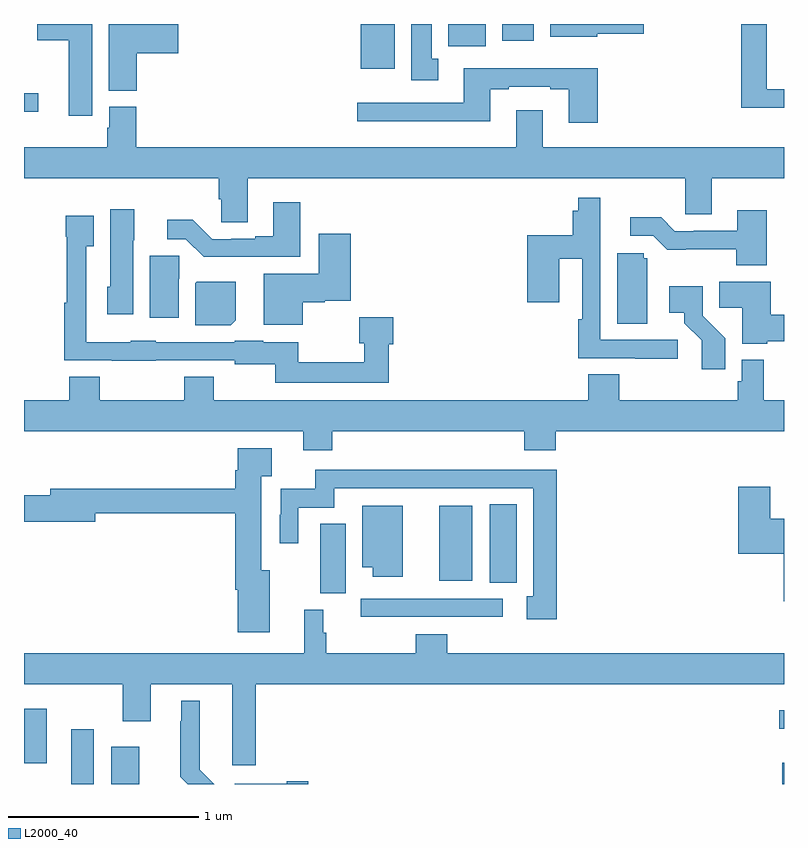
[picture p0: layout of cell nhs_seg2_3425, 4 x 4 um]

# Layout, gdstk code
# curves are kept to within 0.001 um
import gdstk
lib = gdstk.Library(unit=1e-6, precision=1e-09)
def R(c, l, rs):  # rectangles x0, y0, x1, y1
    for r in rs: c.add(gdstk.rectangle(r[:2], r[2:], *l))
def P(c, l, *ps):  # polygons
    for p in ps: c.add(gdstk.Polygon(p, *l))
L2000_40 = (2000, 40)

nhs_seg2_3425 = lib.new_cell('nhs_seg2_3425')
R(nhs_seg2_3425, L2000_40, [(291.248,625.8,291.367,626.089), (291.458,625.8,291.607,625.996), (294.992,625.8,295,625.912), (291,625.91,291.121,626.197), (294.975,626.091,295,626.188), (292.773,626.679,293.521,626.775), (292.559,626.803,292.693,627.169), (293.45,626.86,293.593,627.272), (293.186,626.87,293.359,627.265), (291,629.339,291.076,629.436), (292.772,629.564,292.951,629.8), (293.234,629.684,293.431,629.8), (293.516,629.712,293.683,629.8)])
P(nhs_seg2_3425, L2000_40, [(293.179,629.618),(293.146,629.618),(293.146,629.8),(293.039,629.8),(293.039,629.505),(293.179,629.505)],
  [(291.358,629.8),(291.071,629.8),(291.071,629.714),(291.236,629.714),(291.236,629.316),(291.358,629.316)],
  [(291.593,629.645),(291.811,629.645),(291.811,629.8),(291.446,629.8),(291.446,629.449),(291.593,629.449)],
  [(294.018,629.75),(294.262,629.75),(294.262,629.8),(293.771,629.8),(293.771,629.732),(294.018,629.732)],
  [(295,629.457),(294.91,629.457),(294.91,629.8),(294.776,629.8),(294.776,629.36),(295,629.36)],
  [(294.02,629.566),(293.315,629.566),(293.315,629.385),(292.755,629.385),(292.755,629.288),(293.455,629.288),(293.455,629.457),(293.551,629.457),(293.551,629.469),(293.771,629.469),(293.771,629.457),(293.867,629.457),(293.867,629.28),(294.02,629.28)],
  [(292.177,628.988),(294.48,628.988),(294.48,628.798),(294.619,628.798),(294.619,628.988),(295,628.988),(295,629.152),(293.731,629.152),(293.731,629.347),(293.591,629.347),(293.591,629.152),(291.59,629.152),(291.59,629.364),(291.449,629.364),(291.449,629.253),(291.437,629.253),(291.437,629.152),(291,629.152),(291,628.988),(292.025,628.988),(292.025,628.878),(292.038,628.878),(292.038,628.756),(292.177,628.756)],
  [(294.442,628.137),(294.033,628.137),(294.033,628.885),(293.917,628.885),(293.917,628.816),(293.888,628.816),(293.888,628.687),(293.648,628.687),(293.648,628.335),(293.818,628.335),(293.818,628.565),(293.937,628.565),(293.937,628.247),(293.917,628.247),(293.917,628.041),(294.217,628.041),(294.217,628.039),(294.442,628.039)],
  [(292.453,628.861),(292.313,628.861),(292.313,628.684),(292.217,628.684),(292.217,628.671),(292.09,628.671),(292.09,628.668),(291.99,628.668),(291.888,628.771),(291.753,628.771),(291.753,628.668),(291.852,628.668),(291.947,628.574),(292.453,628.574)],
  [(291.574,628.662),(291.58,628.662),(291.58,628.825),(291.455,628.825),(291.455,628.416),(291.437,628.416),(291.437,628.272),(291.574,628.272)],
  [(294.908,628.819),(294.755,628.819),(294.755,628.713),(294.526,628.713),(294.526,628.71),(294.426,628.71),(294.353,628.783),(294.192,628.783),(294.192,628.686),(294.312,628.686),(294.385,628.613),(294.748,628.614),(294.748,628.529),(294.908,628.529)],
  [(292.919,628.114),(292.943,628.114),(292.943,628.256),(292.765,628.256),(292.765,628.121),(292.791,628.121),(292.791,628.021),(292.444,628.021),(292.444,628.126),(292.26,628.126),(292.26,628.132),(292.11,628.132),(292.11,628.125),(291.693,628.125),(291.693,628.132),(291.561,628.132),(291.561,628.126),(291.327,628.126),(291.327,628.631),(291.367,628.631),(291.367,628.792),(291.219,628.792),(291.219,628.679),(291.226,628.679),(291.226,628.332),(291.211,628.332),(291.211,628.029),(291.461,628.029),(291.461,628.028),(291.693,628.028),(291.693,628.029),(292.11,628.029),(292.11,628.01),(292.323,628.01),(292.323,627.912),(292.919,627.912)],
  [(292.468,628.336),(292.584,628.336),(292.584,628.343),(292.721,628.343),(292.721,628.696),(292.55,628.696),(292.55,628.486),(292.262,628.486),(292.262,628.217),(292.468,628.217)],
  [(294.28,628.566),(294.261,628.566),(294.261,628.593),(294.122,628.593),(294.122,628.222),(294.28,628.222)],
  [(291.814,628.458),(291.818,628.458),(291.818,628.581),(291.662,628.581),(291.662,628.254),(291.814,628.254)],
  [(292.114,628.24),(292.114,628.444),(291.91,628.444),(291.902,628.436),(291.902,628.214),(292.088,628.214)],
  [(294.912,628.129),(295,628.129),(295,628.271),(294.929,628.271),(294.929,628.444),(294.658,628.444),(294.658,628.306),(294.779,628.306),(294.779,628.118),(294.912,628.118)],
  [(294.692,628.146),(294.573,628.265),(294.573,628.42),(294.396,628.42),(294.396,628.28),(294.476,628.28),(294.476,628.225),(294.567,628.135),(294.567,627.984),(294.692,627.984)],
  [(292.622,627.656),(293.633,627.656),(293.633,627.557),(293.798,627.557),(293.798,627.656),(295,627.656),(295,627.82),(294.893,627.82),(294.893,628.033),(294.777,628.033),(294.777,627.921),(294.757,627.921),(294.757,627.82),(294.134,627.82),(294.134,627.956),(293.969,627.956),(293.969,627.82),(291.999,627.82),(291.999,627.944),(291.844,627.944),(291.844,627.82),(291.399,627.82),(291.399,627.944),(291.239,627.944),(291.239,627.82),(291,627.82),(291,627.656),(292.469,627.656),(292.469,627.557),(292.622,627.557)],
  [(292.294,626.926),(292.249,626.926),(292.249,627.42),(292.303,627.42),(292.303,627.568),(292.124,627.568),(292.124,627.452),(292.112,627.452),(292.112,627.355),(291.137,627.355),(291.137,627.321),(291,627.321),(291,627.179),(291.376,627.179),(291.376,627.226),(292.112,627.226),(292.112,626.822),(292.124,626.822),(292.124,626.6),(292.294,626.6)],
  [(293.803,627.453),(293.549,627.453),(293.549,627.455),(292.534,627.455),(292.534,627.354),(292.35,627.354),(292.35,627.216),(292.347,627.216),(292.347,627.066),(292.443,627.066),(292.443,627.254),(292.633,627.254),(292.633,627.357),(293.681,627.357),(293.681,626.787),(293.645,626.787),(293.645,626.667),(293.803,626.667)],
  [(295,627.196),(294.928,627.196),(294.928,627.364),(294.758,627.364),(294.758,627.011),(294.998,627.011),(294.998,626.761),(295,626.761)],
  [(292.993,627.265),(292.781,627.265),(292.781,626.942),(292.835,626.942),(292.835,626.892),(292.993,626.892)],
  [(292.22,626.324),(295,626.324),(295,626.488),(293.228,626.488),(293.228,626.587),(293.063,626.587),(293.063,626.488),(292.592,626.488),(292.592,626.597),(292.574,626.597),(292.574,626.718),(292.475,626.718),(292.475,626.488),(291,626.488),(291,626.324),(291.52,626.324),(291.52,626.13),(291.667,626.13),(291.667,626.324),(292.097,626.324),(292.097,625.899),(292.22,625.899)],
  [(291.925,625.876),(291.925,626.239),(291.827,626.239),(291.827,626.129),(291.823,626.129),(291.823,625.838),(291.861,625.8),(292,625.8)],
  [(292.495,625.814),(292.382,625.814),(292.382,625.801),(292.11,625.801),(292.11,625.8),(292.495,625.8)])

lib.write_gds('nhs_seg2_3425.gds')
